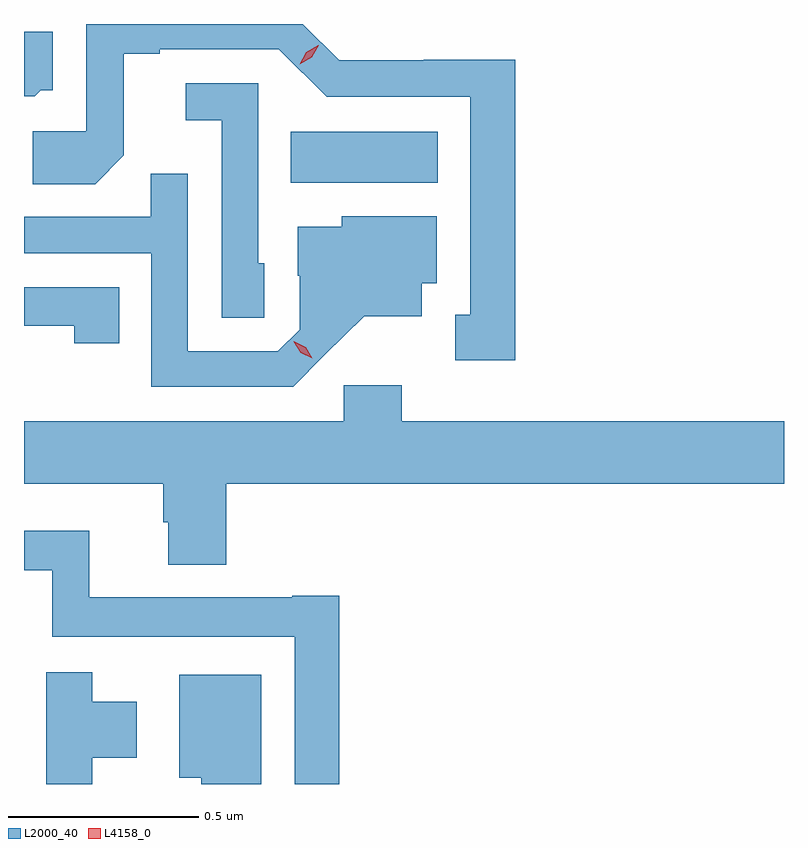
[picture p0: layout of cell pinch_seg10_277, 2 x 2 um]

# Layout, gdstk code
import gdstk
lib = gdstk.Library(unit=1e-6, precision=1e-09)
def R(c, l, rs):  # rectangles x0, y0, x1, y1
    for r in rs: c.add(gdstk.rectangle(r[:2], r[2:], *l))
def P(c, l, *ps):  # polygons
    for p in ps: c.add(gdstk.Polygon(p, *l))
L2000_40 = (2000, 40)
L4158_0 = (4158, 0)

pinch_seg10_277 = lib.new_cell('pinch_seg10_277')
R(pinch_seg10_277, L2000_40, [(529.42,1309.1,529.807,1309.234)])
P(pinch_seg10_277, L2000_40, [(530.011,1309.424),(529.77,1309.424),(529.77,1309.422),(529.548,1309.422),(529.452,1309.518),(528.882,1309.518),(528.882,1309.236),(528.741,1309.236),(528.741,1309.096),(528.905,1309.096),(528.981,1309.172),(528.981,1309.44),(529.075,1309.44),(529.075,1309.452),(529.389,1309.452),(529.515,1309.326),(529.892,1309.326),(529.892,1308.753),(529.853,1308.753),(529.853,1308.633),(530.011,1308.633)],
  [(528.762,1309.344),(528.793,1309.344),(528.793,1309.498),(528.718,1309.498),(528.718,1309.328),(528.746,1309.328)],
  [(529.35,1308.888),(529.335,1308.888),(529.335,1309.362),(529.143,1309.362),(529.143,1309.265),(529.239,1309.265),(529.239,1308.745),(529.35,1308.745)],
  [(529.51,1308.647),(529.613,1308.749),(529.765,1308.749),(529.765,1308.836),(529.804,1308.836),(529.804,1309.012),(529.554,1309.012),(529.554,1308.985),(529.439,1308.985),(529.439,1308.856),(529.443,1308.856),(529.443,1308.714),(529.386,1308.657),(529.149,1308.657),(529.149,1309.124),(529.051,1309.124),(529.051,1309.011),(528.718,1309.011),(528.718,1308.915),(529.053,1308.915),(529.053,1308.564),(529.426,1308.564)],
  [(528.968,1308.825),(528.718,1308.825),(528.718,1308.724),(528.85,1308.724),(528.85,1308.678),(528.968,1308.678)],
  [(529.25,1308.308),(530.718,1308.308),(530.718,1308.472),(529.712,1308.472),(529.712,1308.568),(529.56,1308.568),(529.56,1308.472),(528.718,1308.472),(528.718,1308.308),(529.085,1308.308),(529.085,1308.207),(529.097,1308.207),(529.097,1308.095),(529.25,1308.095)],
  [(529.547,1308.013),(529.424,1308.013),(529.424,1308.01),(528.89,1308.01),(528.89,1308.184),(528.718,1308.184),(528.718,1308.08),(528.792,1308.08),(528.792,1307.906),(529.431,1307.906),(529.431,1307.518),(529.547,1307.518)],
  [(528.898,1307.587),(529.015,1307.587),(529.015,1307.734),(528.898,1307.734),(528.898,1307.812),(528.776,1307.812),(528.776,1307.518),(528.898,1307.518)],
  [(529.342,1307.806),(529.127,1307.806),(529.127,1307.534),(529.184,1307.534),(529.184,1307.518),(529.342,1307.518)])
P(pinch_seg10_277, L4158_0, [(529.443,1309.412),(529.443,1309.412),(529.461,1309.444),(529.492,1309.462),(529.493,1309.462),(529.493,1309.462),(529.475,1309.43),(529.443,1309.412)],
  [(529.477,1308.638),(529.446,1308.653),(529.428,1308.682),(529.428,1308.683),(529.428,1308.683),(529.459,1308.668),(529.477,1308.638),(529.477,1308.638)])

lib.write_gds('pinch_seg10_277.gds')
